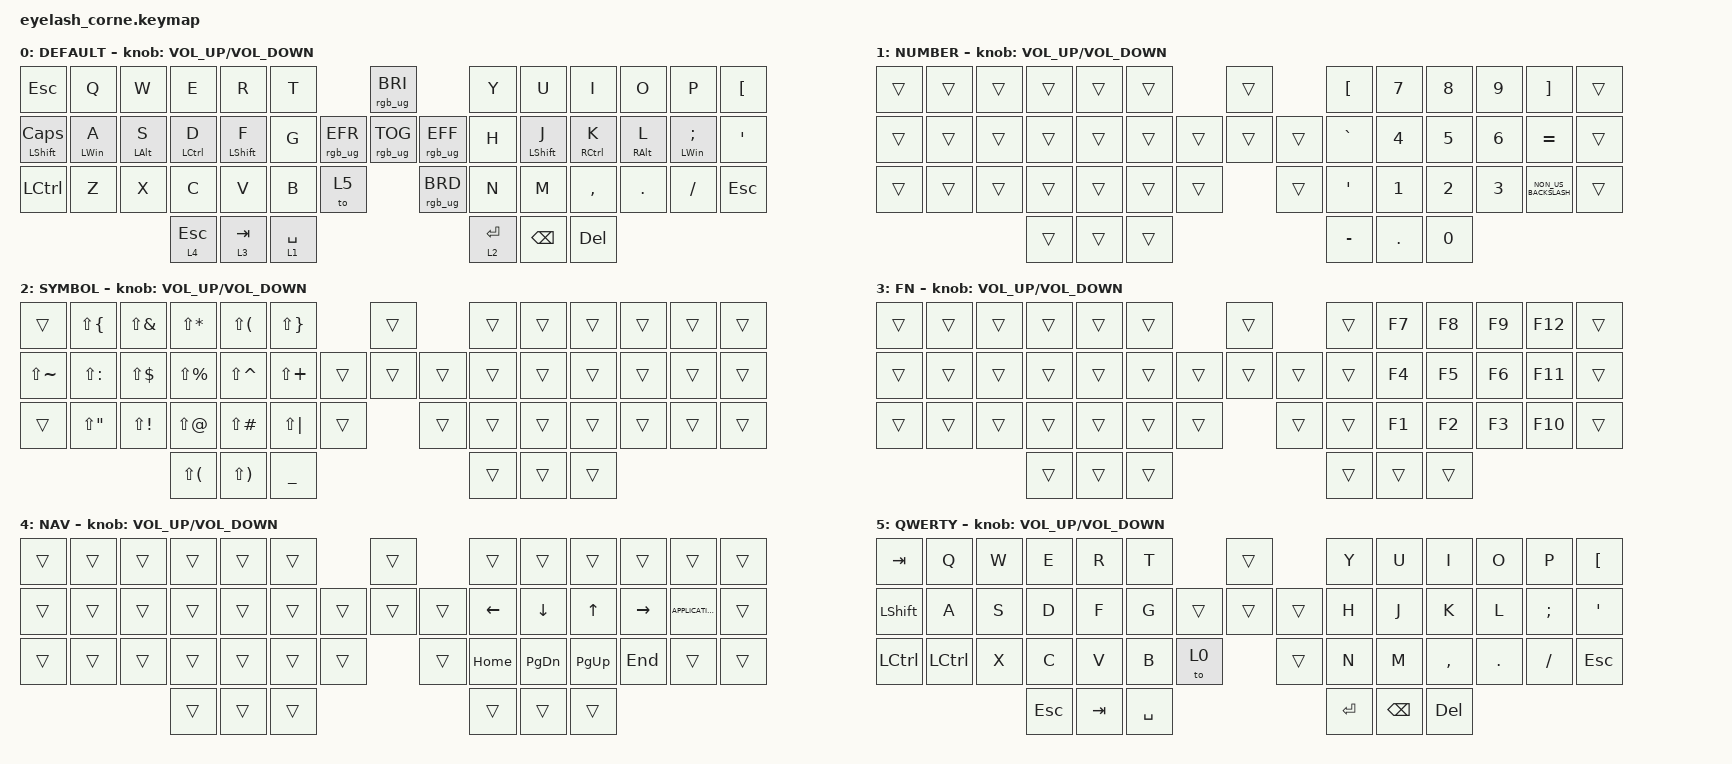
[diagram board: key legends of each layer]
#define ZMK_POINTING_DEFAULT_MOVE_VAL 1200  // 600
#define ZMK_POINTING_DEFAULT_SCRL_VAL 25   // 10

#include <input/processors.dtsi>
#include <zephyr/dt-bindings/input/input-event-codes.h>
#include <behaviors.dtsi>
#include <dt-bindings/zmk/keys.h>
#include <dt-bindings/zmk/pointing.h>
#include <dt-bindings/zmk/rgb.h>

&mmv_input_listener { input-processors = <&zip_xy_scaler 2 1>; };

&msc_input_listener { input-processors = <&zip_scroll_scaler 2 1>; };

&msc {
    acceleration-exponent = <1>;      // 0
    time-to-max-speed-ms = <100>;       // 300
    delay-ms = <0>;                   // 0
};

&mmv {
    time-to-max-speed-ms = <500>;
    acceleration-exponent = <1>;
    trigger-period-ms = <16>;
};

&soft_off { hold-time-ms = <2000>; };

/ {
    behaviors {
        td0: td0 {
            compatible = "zmk,behavior-tap-dance";
            display-name = "Shift/Caps Lock Tap Dance";
            #binding-cells = <0>;
            bindings = <&kp LEFT_SHIFT>, <&kp CAPS>;
        };

        lh_pht: home_row_left_mod_tap {
            compatible = "zmk,behavior-hold-tap";
            #binding-cells = <2>;
            flavor = "balanced";
            tapping-term-ms = <280>;
            quick-tap-ms = <175>;
            require-prior-idle-ms = <150>;
            hold-trigger-on-release;
            bindings = <&kp>, <&kp>;

            hold-trigger-key-positions = <7 8 9 10 11 12 22 23 24 25 26 27 35 36 37 38 39 40 41 42 43 44 45 46>;
        };

        rh_pht: home_row_right_mod_tap {
            compatible = "zmk,behavior-hold-tap";
            #binding-cells = <2>;
            flavor = "balanced";
            tapping-term-ms = <280>;
            quick-tap-ms = <175>;
            require-prior-idle-ms = <150>;
            hold-trigger-on-release;
            bindings = <&kp>, <&kp>;

            hold-trigger-key-positions = <0 1 2 3 4 5 13 14 15 16 17 18 28 29 30 31 32 33 41 42 43 44 45 46>;
        };

        hold_tap: hold_tap {
            compatible = "zmk,behavior-hold-tap";
            label = "HOLD_TAP";
            #binding-cells = <2>;
            bindings = <&kp>, <&kp>;

            tapping-term-ms = <200>;
            quick-tap-ms = <0>;
        };
    };

    rgb_encoder: rgb_encoder {
        compatible = "zmk,behavior-sensor-rotate";
        #sensor-binding-cells = <0>;
        bindings = <&rgb_ug RGB_BRI>, <&rgb_ug RGB_BRD>;
    };

    scroll_encoder: scroll_encoder {
        compatible = "zmk,behavior-sensor-rotate";
        #sensor-binding-cells = <0>;
        bindings = <&msc SCRL_DOWN>, <&msc SCRL_UP>;

        tap-ms = <100>;
    };

    combos {
        compatible = "zmk,combos";

        softoff {
            bindings = <&soft_off>;
            key-positions = <1 15 29>;
        };
    };

    keymap {
        compatible = "zmk,keymap";

        default_layer {
            display-name = "DEFAULT";
            bindings = <
&kp ESC                        &kp Q               &kp W               &kp E            &kp R                 &kp T                                  &rgb_ug RGB_BRI                   &kp Y        &kp U                 &kp I            &kp O                &kp P                       &kp LEFT_BRACKET
&hold_tap LEFT_SHIFT CAPSLOCK  &lh_pht LEFT_WIN A  &lh_pht LEFT_ALT S  &lh_pht LCTRL D  &lh_pht LEFT_SHIFT F  &kp G                 &rgb_ug RGB_EFR  &rgb_ug RGB_TOG  &rgb_ug RGB_EFF  &kp H        &rh_pht LEFT_SHIFT J  &rh_pht RCTRL K  &rh_pht RIGHT_ALT L  &rh_pht LEFT_WIN SEMICOLON  &kp SQT
&kp LEFT_CONTROL               &kp Z               &kp X               &kp C            &kp V                 &kp B        &to 5                     &rgb_ug RGB_BRD                   &kp N        &kp M                 &kp COMMA        &kp DOT              &kp FSLH                    &kp ESC
                                                                       &lt 4 ESCAPE     &lt 3 TAB             &lt 1 SPACE                                                              &lt 2 ENTER  &kp BACKSPACE         &kp DEL
            >;

            sensor-bindings = <&inc_dec_kp C_VOLUME_UP C_VOLUME_DOWN>;
        };

        lower_layer {
            display-name = "NUMBER";
            bindings = <
&trans  &trans  &trans  &trans  &trans  &trans                    &trans          &kp LEFT_BRACKET  &kp N7        &kp N8        &kp N9        &kp RIGHT_BRACKET     &trans
&trans  &trans  &trans  &trans  &trans  &trans            &trans  &trans  &trans  &kp GRAVE         &kp NUMBER_4  &kp N5        &kp NUMBER_6  &kp EQUAL             &trans
&trans  &trans  &trans  &trans  &trans  &trans  &trans            &trans          &kp SINGLE_QUOTE  &kp NUMBER_1  &kp NUMBER_2  &kp NUMBER_3  &kp NON_US_BACKSLASH  &trans
                        &trans  &trans  &trans                                    &kp MINUS         &kp PERIOD    &kp N0
            >;

            sensor-bindings = <&inc_dec_kp C_VOLUME_UP C_VOLUME_DOWN>;
        };

        raise_layer {
            display-name = "SYMBOL";
            bindings = <
&trans         &kp LS(LBRC)   &kp LS(AMPS)  &kp LS(STAR)   &kp LS(LPAR)   &kp LS(RBRC)                      &trans          &trans  &trans  &trans  &trans  &trans  &trans
&kp LS(TILDE)  &kp LS(COLON)  &kp LS(DLLR)  &kp LS(PRCNT)  &kp LS(CARET)  &kp LS(PLUS)              &trans  &trans  &trans  &trans  &trans  &trans  &trans  &trans  &trans
&trans         &kp LS(DQT)    &kp LS(EXCL)  &kp LS(AT)     &kp LS(POUND)  &kp LS(PIPE)    &trans            &trans          &trans  &trans  &trans  &trans  &trans  &trans
                                            &kp LS(LPAR)   &kp LS(RPAR)   &kp UNDERSCORE                                    &trans  &trans  &trans
            >;

            sensor-bindings = <&inc_dec_kp C_VOLUME_UP C_VOLUME_DOWN>;
        };

        layer_3 {
            display-name = "FN";
            bindings = <
&trans  &trans  &trans  &trans  &trans  &trans                    &trans          &trans  &kp F7  &kp F8  &kp F9  &kp F12  &trans
&trans  &trans  &trans  &trans  &trans  &trans            &trans  &trans  &trans  &trans  &kp F4  &kp F5  &kp F6  &kp F11  &trans
&trans  &trans  &trans  &trans  &trans  &trans  &trans            &trans          &trans  &kp F1  &kp F2  &kp F3  &kp F10  &trans
                        &trans  &trans  &trans                                    &trans  &trans  &trans
            >;

            sensor-bindings = <&inc_dec_kp C_VOLUME_UP C_VOLUME_DOWN>;
        };

        nav {
            bindings = <
&trans  &trans  &trans  &trans  &trans  &trans                    &trans          &trans    &trans         &trans       &trans     &trans             &trans
&trans  &trans  &trans  &trans  &trans  &trans            &trans  &trans  &trans  &kp LEFT  &kp DOWN       &kp UP       &kp RIGHT  &kp K_APPLICATION  &trans
&trans  &trans  &trans  &trans  &trans  &trans  &trans            &trans          &kp HOME  &kp PAGE_DOWN  &kp PAGE_UP  &kp END    &trans             &trans
                        &trans  &trans  &trans                                    &trans    &trans         &trans
            >;

            label = "NAV";
            sensor-bindings = <&inc_dec_kp C_VOLUME_UP C_VOLUME_DOWN>;
        };

        QWERTY {
            bindings = <
&kp TAB    &kp Q      &kp W  &kp E    &kp R    &kp T                       &trans          &kp Y    &kp U     &kp I      &kp O    &kp P     &kp LBKT
&kp LSHFT  &kp A      &kp S  &kp D    &kp F    &kp G               &trans  &trans  &trans  &kp H    &kp J     &kp K      &kp L    &kp SEMI  &kp SQT
&kp LCTRL  &kp LCTRL  &kp X  &kp C    &kp V    &kp B      &to 0            &trans          &kp N    &kp M     &kp COMMA  &kp DOT  &kp FSLH  &kp ESC
                             &kp ESC  &kp TAB  &kp SPACE                                   &kp RET  &kp BSPC  &kp DEL
            >;

            label = "QWERTY";
            sensor-bindings = <&inc_dec_kp C_VOLUME_UP C_VOLUME_DOWN>;
        };
    };
};
